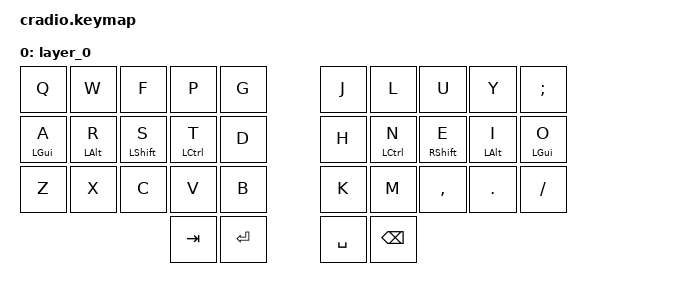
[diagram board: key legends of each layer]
#include <behaviors.dtsi>
#include <dt-bindings/zmk/keys.h>


#define LT0  4  // left-top row
#define LT1  3
#define LT2  2
#define LT3  1
#define LT4  0

#define RT0  5  // right-top row
#define RT1  6
#define RT2  7
#define RT3  8
#define RT4  9

#define LM0 14  // left-middle row
#define LM1 13
#define LM2 12
#define LM3 11
#define LM4 10

#define RM0 15  // right-middle row
#define RM1 16
#define RM2 17
#define RM3 18
#define RM4 19

#define LB0 24  // left-bottom row
#define LB1 23
#define LB2 22
#define LB3 21
#define LB4 20

#define RB0 25  // right-bottom row
#define RB1 26
#define RB2 27
#define RB3 28
#define RB4 29

#define LH0 31  // left thumb keys
#define LH1 30

#define RH0 32  // right thumb keys
#define RH1 33

/* Global settings */

#define QUICK_TAP_MS 175

&sk {  // sticky-key config
    release-after-ms = <900>;  // release after 0.6s
    quick-release;             // no double capitalization when rolling keys
};

&sl {  // sticky-layer config
    ignore-modifiers;          // allow chording sticky mods & layers
};

&lt {  // layer-tap config
    flavor = "balanced";
    tapping-term-ms = <200>;
    quick-tap-ms = <QUICK_TAP_MS>;
};

/* Homerow mods */


#define KEYS_L LT0 LT1 LT2 LT3 LT4 LM0 LM1 LM2 LM3 LM4 LB0 LB1 LB2 LB3 LB4  // left-hand keys
#define KEYS_R RT0 RT1 RT2 RT3 RT4 RM0 RM1 RM2 RM3 RM4 RB0 RB1 RB2 RB3 RB4  // right-hand keys
#define THUMBS LH1 LH0 RH0 RH1   // thumb keys

#define MAKE_HRM(NAME, HOLD, TAP, TRIGGER_POS) \
    ZMK_HOLD_TAP(NAME, \
        flavor = "balanced"; \
        tapping-term-ms = <280>; \
        quick-tap-ms = <QUICK_TAP_MS>; \
        require-prior-idle-ms = <150>; \
        bindings = <HOLD>, <TAP>; \
        hold-trigger-key-positions = <TRIGGER_POS>; \
        hold-trigger-on-release; \
    )
MAKE_HRM(hml, &kp, &kp, KEYS_R THUMBS)  // left-hand HRMs
MAKE_HRM(hmr, &kp, &kp, KEYS_L THUMBS)  // right-hand HRMs

MAKE_HRM(hml_repeat, &kp, &key_repeat, KEYS_R THUMBS)  // used for HRM-combo
MAKE_HRM(hmr_lpar_lt, &kp, &lpar_lt, KEYS_L THUMBS)    // "    "   "   "
MAKE_HRM(hmr_rpar_gt, &kp, &rpar_gt, KEYS_L THUMBS)    // "    "   "   "




&sk {
    release-after-ms = <2000>;
    quick-release;

    /delete-property/ ignore-modifiers;
};

/ {
    combos {
        compatible = "zmk,combos";

        CrtlX {
            bindings = <&kp LC(X)>;
            key-positions = <22 21>;
        };

        CrtlC {
            bindings = <&kp LC(C)>;
            key-positions = <22 23>;
        };

        CtrlV {
            bindings = <&kp LC(V)>;
            key-positions = <23 24>;
        };
/*
        Lshift {
            bindings = <&sk LEFT_SHIFT>;
            key-positions = <10 11>;
        };

        LAlt {
            bindings = <&sk LEFT_ALT>;
            key-positions = <11 12>;
        };

        LCtrl {
            bindings = <&sk LCTRL>;
            key-positions = <12 13>;
        };

        LGUI_ {
            bindings = <&sk LEFT_GUI>;
            key-positions = <13 14>;
        };

        RSHIFT_ {
            bindings = <&sk RIGHT_SHIFT>;
            key-positions = <19 18>;
        };

        RALT_ {
            bindings = <&sk RIGHT_ALT>;
            key-positions = <18 17>;
        };

        RCTRL_ {
            bindings = <&sk RCTRL>;
            key-positions = <17 16>;
        };

        RGUI_ {
            bindings = <&sk RIGHT_GUI>;
            key-positions = <15 16>;
        };
        */
    };
    
/*
    macros {
        new_macro: new_macro {
            compatible = "zmk,behavior-macro";
            #binding-cells = <0>;
            bindings = <&none>, <&macro_press>, <&kp>, <&macro_press>;

            label = "NEW_MACRO";
        };
        
        MAKE_HRM(hml, &kp, &kp, KEYS_R THUMBS)  // left-hand HRMs
        MAKE_HRM(hmr, &kp, &kp, KEYS_L THUMBS)  // right-hand HRMs

        //MAKE_HRM(hml_repeat, &kp, &key_repeat, KEYS_R THUMBS)  // used for HRM-combo
        //MAKE_HRM(hmr_lpar_lt, &kp, &lpar_lt, KEYS_L THUMBS)    // "    "   "   "
        //MAKE_HRM(hmr_rpar_gt, &kp, &rpar_gt, KEYS_L THUMBS)    // "    "   "   "
    };
    */

    keymap {
        compatible = "zmk,keymap";

        layer_0 {
            bindings = <
&kp Q  &kp W  &kp F  &kp P    &kp G        &kp J      &kp L     &kp U      &kp Y    &kp SEMI
&hml LGUI A   &hml LALT R   &hml LSHFT S  &hml LCTRL T    &kp D     &kp H  &hmr LCTRL N  &hmr RSHFT E  &hmr LALT I   &hmr LGUI O
&kp Z  &kp X  &kp C  &kp V    &kp B        &kp K      &kp M     &kp COMMA  &kp DOT  &kp FSLH
                     &kp TAB  &kp ENTER    &kp SPACE  &kp BSPC
            >;
        };
    };
};

